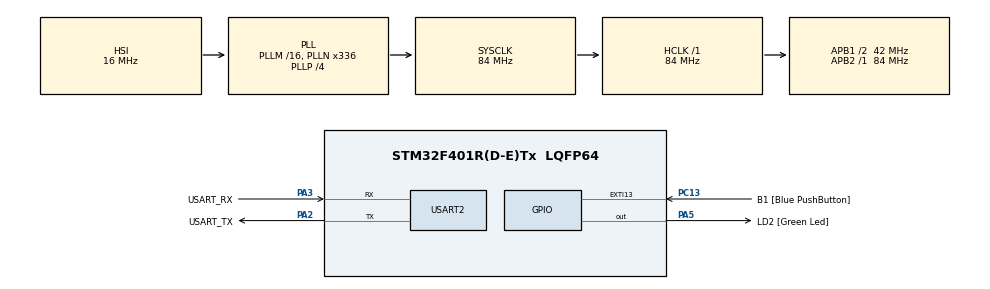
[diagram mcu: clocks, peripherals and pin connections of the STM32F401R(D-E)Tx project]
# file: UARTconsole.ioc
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Mcu.Family=STM32F4
Mcu.Name=STM32F401R(D-E)Tx
Mcu.Package=LQFP64
NVIC.PriorityGroup=NVIC_PRIORITYGROUP_0
NVIC.USART2_IRQn=true\:0\:0\:false\:false\:true\:true\:true\:true
PA13.GPIO_Label=TMS
PA13.Mode=Serial_Wire
PA13.Signal=SYS_JTMS-SWDIO
PA14.GPIO_Label=TCK
PA14.Mode=Serial_Wire
PA14.Signal=SYS_JTCK-SWCLK
PA2.GPIO_Label=USART_TX
PA2.GPIO_Mode=GPIO_MODE_AF_PP
PA2.GPIO_PuPd=GPIO_NOPULL
PA2.GPIO_Speed=GPIO_SPEED_FREQ_LOW
PA2.Mode=Asynchronous
PA2.Signal=USART2_TX
PA3.GPIO_Label=USART_RX
PA3.GPIO_Mode=GPIO_MODE_AF_PP
PA3.GPIO_PuPd=GPIO_NOPULL
PA3.GPIO_Speed=GPIO_SPEED_FREQ_LOW
PA3.Mode=Asynchronous
PA3.Signal=USART2_RX
PA5.GPIO_Label=LD2 [Green Led]
PA5.GPIO_Mode=GPIO_MODE_OUTPUT_PP
PA5.GPIO_PuPd=GPIO_NOPULL
PA5.GPIO_Speed=GPIO_SPEED_FREQ_LOW
PA5.Signal=GPIO_Output
PB3.GPIO_Label=SWO
PB3.Signal=SYS_JTDO-SWO
PC13-ANTI_TAMP.GPIO_Label=B1 [Blue PushButton]
PC13-ANTI_TAMP.GPIO_ModeDefaultEXTI=GPIO_MODE_IT_FALLING
PC13-ANTI_TAMP.GPIO_PuPd=GPIO_NOPULL
PC13-ANTI_TAMP.Signal=GPXTI13
PC14-OSC32_IN.Mode=LSE-External-Oscillator
PC14-OSC32_IN.Signal=RCC_OSC32_IN
PC15-OSC32_OUT.Mode=LSE-External-Oscillator
PC15-OSC32_OUT.Signal=RCC_OSC32_OUT
PH0\ -\ OSC_IN.Mode=HSE-External-Clock-Source
PH0\ -\ OSC_IN.Signal=RCC_OSC_IN
PH1\ -\ OSC_OUT.Mode=HSE-External-Clock-Source
PH1\ -\ OSC_OUT.Signal=RCC_OSC_OUT
ProjectManager.HeapSize=0x200
ProjectManager.StackSize=0x400
ProjectManager.TargetToolchain=STM32CubeIDE
RCC.48MHZClocksFreq_Value=48000000
RCC.AHBFreq_Value=84000000
RCC.APB1CLKDivider=RCC_HCLK_DIV2
RCC.APB1Freq_Value=42000000
RCC.APB1TimFreq_Value=84000000
RCC.APB2Freq_Value=84000000
RCC.APB2TimFreq_Value=84000000
RCC.CortexFreq_Value=84000000
RCC.HCLKFreq_Value=84000000
RCC.HSE_VALUE=8000000
RCC.HSI_VALUE=16000000
RCC.PLLN=336
RCC.PLLP=RCC_PLLP_DIV4
RCC.PLLQ=7
RCC.SYSCLKFreq_VALUE=84000000
RCC.SYSCLKSource=RCC_SYSCLKSOURCE_PLLCLK
RCC.VCOOutputFreq_Value=336000000
USART2.VirtualMode=VM_ASYNC
board=NUCLEO-F401RE

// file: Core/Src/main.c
/* USER CODE BEGIN Header */
/**
  ******************************************************************************
  * @file           : main.c
  * @brief          : Main program body
  ******************************************************************************
  * @attention
  *
  * Copyright (c) 2025 STMicroelectronics.
  * All rights reserved.
  *
  * This software is licensed under terms that can be found in the LICENSE file
  * in the root directory of this software component.
  * If no LICENSE file comes with this software, it is provided AS-IS.
  *
  ******************************************************************************
  */
/* USER CODE END Header */
#include "main.h"
#include "string.h"

UART_HandleTypeDef huart2;

/* USER CODE BEGIN PV */
uint8_t buffer[27] = "Hello world!\n\r";

uint8_t rx_index = 0;
uint8_t rx_data;
uint8_t rx_buffer[100];
uint8_t rx_transfer;

/* USER CODE END PV */

void SystemClock_Config(void);
static void MX_GPIO_Init(void);
static void MX_USART2_UART_Init(void);

int main(void)
{

  /* MCU Configuration--------------------------------------------------------*/

  /* Reset of all peripherals, Initializes the Flash interface and the Systick. */
  HAL_Init();

  /* Configure the system clock */
  SystemClock_Config();

  /* Initialize all configured peripherals */
  MX_GPIO_Init();
  MX_USART2_UART_Init();
  /* USER CODE BEGIN 2 */
	  HAL_UART_Receive_IT(&huart2, &rx_data, 1);
	  /* USER CODE END 2 */

	  /* Infinite loop */
	  while (1)
	  {
//		  HAL_UART_Transmit(&huart2, buffer, 27, 10);
//		  HAL_Delay(1000);
	  }
}

void SystemClock_Config(void)
{
  RCC_OscInitTypeDef RCC_OscInitStruct = {0};
  RCC_ClkInitTypeDef RCC_ClkInitStruct = {0};

  /** Configure the main internal regulator output voltage
  */
  __HAL_RCC_PWR_CLK_ENABLE();
  __HAL_PWR_VOLTAGESCALING_CONFIG(PWR_REGULATOR_VOLTAGE_SCALE2);

  /** Initializes the RCC Oscillators according to the specified parameters
  * in the RCC_OscInitTypeDef structure.
  */
  RCC_OscInitStruct.OscillatorType = RCC_OSCILLATORTYPE_HSI;
  RCC_OscInitStruct.HSIState = RCC_HSI_ON;
  RCC_OscInitStruct.HSICalibrationValue = RCC_HSICALIBRATION_DEFAULT;
  RCC_OscInitStruct.PLL.PLLState = RCC_PLL_ON;
  RCC_OscInitStruct.PLL.PLLSource = RCC_PLLSOURCE_HSI;
  RCC_OscInitStruct.PLL.PLLM = 16;
  RCC_OscInitStruct.PLL.PLLN = 336;
  RCC_OscInitStruct.PLL.PLLP = RCC_PLLP_DIV4;
  RCC_OscInitStruct.PLL.PLLQ = 7;
  if (HAL_RCC_OscConfig(&RCC_OscInitStruct) != HAL_OK)
  {
    Error_Handler();
  }

  /** Initializes the CPU, AHB and APB buses clocks
  */
  RCC_ClkInitStruct.ClockType = RCC_CLOCKTYPE_HCLK|RCC_CLOCKTYPE_SYSCLK
                              |RCC_CLOCKTYPE_PCLK1|RCC_CLOCKTYPE_PCLK2;
  RCC_ClkInitStruct.SYSCLKSource = RCC_SYSCLKSOURCE_PLLCLK;
  RCC_ClkInitStruct.AHBCLKDivider = RCC_SYSCLK_DIV1;
  RCC_ClkInitStruct.APB1CLKDivider = RCC_HCLK_DIV2;
  RCC_ClkInitStruct.APB2CLKDivider = RCC_HCLK_DIV1;

  if (HAL_RCC_ClockConfig(&RCC_ClkInitStruct, FLASH_LATENCY_2) != HAL_OK)
  {
    Error_Handler();
  }
}

static void MX_USART2_UART_Init(void)
{

  huart2.Instance = USART2;
  huart2.Init.BaudRate = 115200;
  huart2.Init.WordLength = UART_WORDLENGTH_8B;
  huart2.Init.StopBits = UART_STOPBITS_1;
  huart2.Init.Parity = UART_PARITY_NONE;
  huart2.Init.Mode = UART_MODE_TX_RX;
  huart2.Init.HwFlowCtl = UART_HWCONTROL_NONE;
  huart2.Init.OverSampling = UART_OVERSAMPLING_16;
  if (HAL_UART_Init(&huart2) != HAL_OK)
  {
    Error_Handler();
  }

}

static void MX_GPIO_Init(void)
{
  GPIO_InitTypeDef GPIO_InitStruct = {0};

  /* GPIO Ports Clock Enable */
  __HAL_RCC_GPIOC_CLK_ENABLE();
  __HAL_RCC_GPIOH_CLK_ENABLE();
  __HAL_RCC_GPIOA_CLK_ENABLE();
  __HAL_RCC_GPIOB_CLK_ENABLE();

  /*Configure GPIO pin Output Level */
  HAL_GPIO_WritePin(LD2_GPIO_Port, LD2_Pin, GPIO_PIN_RESET);

  /*Configure GPIO pin : B1_Pin */
  GPIO_InitStruct.Pin = B1_Pin;
  GPIO_InitStruct.Mode = GPIO_MODE_IT_FALLING;
  GPIO_InitStruct.Pull = GPIO_NOPULL;
  HAL_GPIO_Init(B1_GPIO_Port, &GPIO_InitStruct);

  /*Configure GPIO pin : LD2_Pin */
  GPIO_InitStruct.Pin = LD2_Pin;
  GPIO_InitStruct.Mode = GPIO_MODE_OUTPUT_PP;
  GPIO_InitStruct.Pull = GPIO_NOPULL;
  GPIO_InitStruct.Speed = GPIO_SPEED_FREQ_LOW;
  HAL_GPIO_Init(LD2_GPIO_Port, &GPIO_InitStruct);

}

/* USER CODE BEGIN 4 */
void HAL_UART_RxCpltCallback(UART_HandleTypeDef *huart){
	if(rx_data == '\r'){
		rx_buffer[rx_index] = '\0';
		if(strcmp((char*)rx_buffer,"LED ON") == 0){
			HAL_GPIO_WritePin(GPIOA, GPIO_PIN_5, 1);
		}
		else if(strcmp((char*)rx_buffer,"LED OFF") == 0){
			HAL_GPIO_WritePin(GPIOA, GPIO_PIN_5, 0);
		}
		HAL_UART_Transmit(&huart2, (uint8_t*)"\r\n", 2, 100);
		rx_index = 0;
		//strcpy(rx_buffer, "");
	}
	else{
		if(rx_data == '\b' || rx_data == 0x7F){
			rx_buffer[rx_index] = '\0';
			if(rx_index != 0){
				rx_index--;
			}
		}
		else if(rx_index < sizeof(rx_buffer) - 1){
			rx_buffer[rx_index] = rx_data;
			rx_index++;
		}
		HAL_UART_Transmit(&huart2, &rx_data, 1, 100);
	}
	UNUSED(huart);

	HAL_UART_Receive_IT(&huart2, &rx_data, 1);

}
/* USER CODE END 4 */

void Error_Handler(void)
{
  __disable_irq();
  while (1)
  {
  }
}
